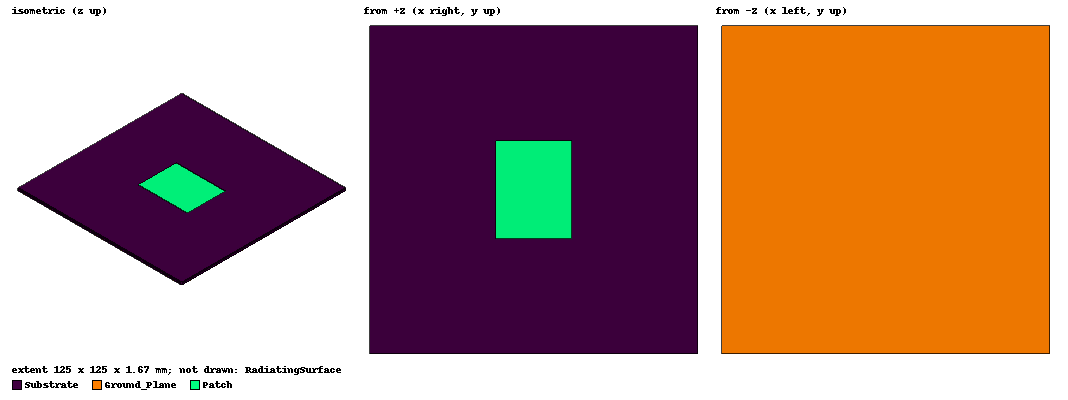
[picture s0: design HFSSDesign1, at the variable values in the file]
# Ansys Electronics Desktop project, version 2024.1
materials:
  vacuum: permittivity=1
  FR4_epoxy: permittivity=4.4 dielectric_loss_tangent=0.02
  copper: permeability=0.999991 conductivity=58000000

design HFSSDesign1 (HFSS, HFSS Terminal Network, model units mm)
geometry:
  Patch [copper] = box(corner=((-28.95/2) mm, (-37.412/2) mm, 1.6mm), size=(28.95mm, 37.412mm, 35um))
  Substrate [FR4_epoxy] = box(corner=((-125/2) mm, (-125/2) mm, 0mm), size=(125mm, 125mm, 1.6mm))
  Ground_Plane [copper] = box(corner=(-62.5mm, -62.5mm, -35um), size=(125mm, 125mm, 35um))
  Rectangle1 = rectangle(corner=(-8mm, 0.95mm, -0.035mm), y_size=-1.9mm, z_size=1.67mm)
  RadiatingSurface [vacuum] = region(absolute_offset=41.666667mm on all sides)
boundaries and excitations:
  Open1: Radiation Objects=RadiatingSurface
  1: Lumped Port Objects=Rectangle1 LumpedPortType=Modal Modes{Mode1{IntLine{(-8, 0, -0.035) -> (-8, 0, 1.635)} CharImp=Zpi}} Impedance=50ohm
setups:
  Setup1: HfssDriven Frequency=2.4GHz MaxDeltaS=0.02 MaximumPasses=6 MinimumPasses=1 MinimumConvergedPasses=1 PercentRefinement=30 BasisOrder=1 PortAccuracy=2 DrivenSolverType="Direct Solver"
    sweep Sweep: 1.2GHz to 3.6GHz, 11 points; Type=Discrete
    sweep Sweep1: 2.2GHz to 2.8GHz, 401 points; Type=Interpolating SaveFields InterpTolerance=0.5 InterpMaxSolns=250 PassivityErrorTolerance=0.0001
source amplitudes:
  1:1: 1V 0deg
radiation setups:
  3D: Infinite Sphere Theta=0deg..180deg step 2deg Phi=-180deg..180deg step 2deg
  Elevation: Infinite Sphere Theta=-180deg..180deg step 1deg Phi=0deg..90deg step 90deg
  Azimuth: Infinite Sphere Theta=90deg..90deg step 0deg Phi=-180deg..180deg step 1deg
  FF_Sweep: Infinite Sphere Theta=0deg..360deg step 2deg Phi=-180deg..180deg step 2deg
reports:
  S Parameter Plot 1: dB(S(1,1)) vs Freq on Setup1 : Sweep; markers m1 at 1.53GHz, m2 at 2GHz, m3 at 2.25GHz, m4 at 2.4GHz, m5 at 2.5156463GHz, m6 at 2.64GHz
  Gain Plot 1: dB(GainTotal) vs Freq on Setup1 : Sweep1, 3D [Phi=0deg Theta=0deg]
  rE Plot 1: dB(rETotal) vs Theta on Setup1 : LastAdaptive, FF_Sweep [Phi=0deg Freq=2.4GHz]
